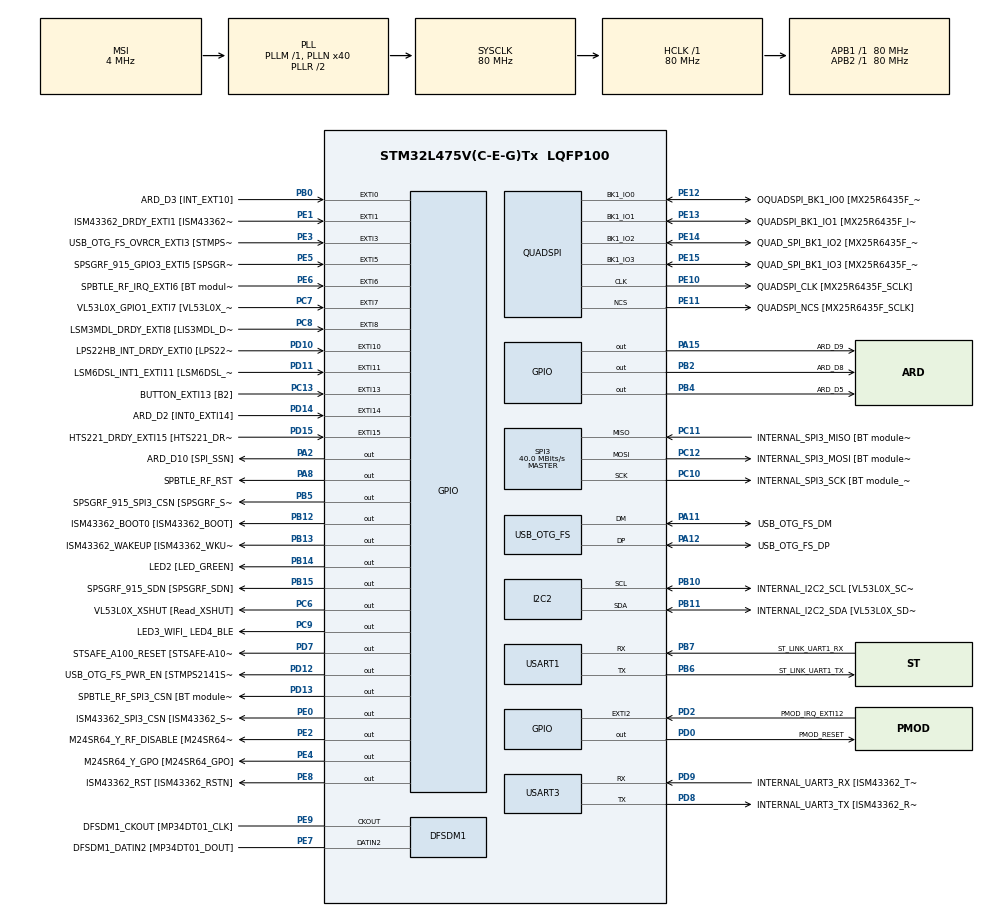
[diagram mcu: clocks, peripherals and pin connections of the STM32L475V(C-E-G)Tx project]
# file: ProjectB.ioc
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Mcu.Family=STM32L4
Mcu.Name=STM32L475V(C-E-G)Tx
Mcu.Package=LQFP100
NVIC.EXTI15_10_IRQn=true\:0\:0\:false\:false\:true\:true\:true\:true
NVIC.EXTI9_5_IRQn=true\:0\:0\:false\:false\:true\:true\:true\:true
NVIC.PriorityGroup=NVIC_PRIORITYGROUP_4
NVIC.USART1_IRQn=true\:0\:0\:false\:false\:true\:true\:true\:true
PA0.GPIO_Label=ARD_D1 [UART4_TX]
PA0.Signal=UART4_TX
PA1.GPIO_Label=ARD_D0 [UART4_RX]
PA1.Signal=UART4_RX
PA10.GPIO_Label=USB_OTG_FS_ID
PA10.Signal=USB_OTG_FS_ID
PA11.GPIO_Label=USB_OTG_FS_DM
PA11.Mode=Device_Only
PA11.Signal=USB_OTG_FS_DM
PA12.GPIO_Label=USB_OTG_FS_DP
PA12.Mode=Device_Only
PA12.Signal=USB_OTG_FS_DP
PA13\ (JTMS-SWDIO).GPIO_Label=SYS_JTMS_SWDIO
PA13\ (JTMS-SWDIO).Mode=Serial_Wire
PA13\ (JTMS-SWDIO).Signal=SYS_JTMS-SWDIO
PA14\ (JTCK-SWCLK).GPIO_Label=SYS_JTCK_SWCLK
PA14\ (JTCK-SWCLK).Mode=Serial_Wire
PA14\ (JTCK-SWCLK).Signal=SYS_JTCK-SWCLK
PA15\ (JTDI).GPIO_Label=ARD_D9
PA15\ (JTDI).Signal=GPIO_Output
PA2.GPIO_Label=ARD_D10 [SPI_SSN]
PA2.Signal=GPIO_Output
PA3.GPIO_Label=ARD_D4
PA3.Signal=S_TIM2_CH4
PA4.GPIO_Label=ARD_D7
PA4.Signal=ADCx_IN9
PA5.GPIO_Label=ARD_D13 [SPI1_SCK]
PA5.Signal=SPI1_SCK
PA6.GPIO_Label=ARD_D12 [SPI1_MISO]
PA6.Signal=SPI1_MISO
PA7.GPIO_Label=ARD_D11 [SPI1_MOSI]
PA7.Signal=SPI1_MOSI
PA8.GPIO_Label=SPBTLE_RF_RST
PA8.Signal=GPIO_Output
PA9.GPIO_Label=USB_OTG_FS_VBUS [STMPS2141STR_OUT]
PA9.Signal=USB_OTG_FS_VBUS
PB0.GPIO_Label=ARD_D3 [INT_EXT10]
PB0.Signal=GPXTI0
PB1.GPIO_Label=ARD_D6 [ADC1_IN6]
PB1.Signal=ADCx_IN16
PB10.GPIO_Label=INTERNAL_I2C2_SCL [VL53L0X_SCL]
PB10.GPIO_Pu=GPIO_PULLUP
PB10.Mode=I2C
PB10.Signal=I2C2_SCL
PB11.GPIO_Label=INTERNAL_I2C2_SDA [VL53L0X_SDA]
PB11.GPIO_Pu=GPIO_PULLUP
PB11.Mode=I2C
PB11.Signal=I2C2_SDA
PB12.GPIO_Label=ISM43362_BOOT0 [ISM43362_BOOT]
PB12.Signal=GPIO_Output
PB13.GPIO_Label=ISM43362_WAKEUP [ISM43362_WKUP]
PB13.Signal=GPIO_Output
PB14.GPIO_Label=LED2 [LED_GREEN]
PB14.Signal=GPIO_Output
PB15.GPIO_Label=SPSGRF_915_SDN [SPSGRF_SDN]
PB15.Signal=GPIO_Output
PB2.GPIO_Label=ARD_D8
PB2.Signal=GPIO_Output
PB3\ (JTDO-TRACESWO).GPIO_Label=SYS_JTD0_SWO
PB3\ (JTDO-TRACESWO).Signal=SYS_JTDO-SWO
PB4\ (NJTRST).GPIO_Label=ARD_D5
PB4\ (NJTRST).Signal=GPIO_Output
PB5.GPIO_Label=SPSGRF_915_SPI3_CSN [SPSGRF_SPI_CS]
PB5.PinState=GPIO_PIN_SET
PB5.Signal=GPIO_Output
PB6.GPIO_Label=ST_LINK_UART1_TX
PB6.Mode=Asynchronous
PB6.Signal=USART1_TX
PB7.GPIO_Label=ST_LINK_UART1_RX
PB7.Mode=Asynchronous
PB7.Signal=USART1_RX
PB8.GPIO_Label=ARD_D15 [I2C1_SCL]
PB8.Signal=I2C1_SCL
PB9.GPIO_Label=ARD_D14 [I2C1_SDA]
PB9.Signal=I2C1_SDA
PC0.GPIO_Label=ARD_A5 [ADC]
PC0.Signal=ADCx_IN1
PC1.GPIO_Label=ARD_A4 [ADC]
PC1.Signal=ADCx_IN2
PC10.GPIO_Label=INTERNAL_SPI3_SCK [BT module_SPI_SCLK] [ISM43362_SCK]
PC10.Mode=Full_Duplex_Master
PC10.Signal=SPI3_SCK
PC11.GPIO_Label=INTERNAL_SPI3_MISO [BT module_SPI_MISO] [ISM43362_MISO]
PC11.Mode=Full_Duplex_Master
PC11.Signal=SPI3_MISO
PC12.GPIO_Label=INTERNAL_SPI3_MOSI [BT module_SPI_MOSI] [ISM43362_MOSI]
PC12.Mode=Full_Duplex_Master
PC12.Signal=SPI3_MOSI
PC13.GPIO_Label=BUTTON_EXTI13 [B2]
PC13.GPIO_ModeDefaultEXTI=GPIO_MODE_IT_FALLING
PC13.Signal=GPXTI13
PC14-OSC32_IN\ (PC14).Mode=LSE-External-Oscillator
PC14-OSC32_IN\ (PC14).Signal=RCC_OSC32_IN
PC15-OSC32_OUT\ (PC15).Mode=LSE-External-Oscillator
PC15-OSC32_OUT\ (PC15).Signal=RCC_OSC32_OUT
PC2.GPIO_Label=ARD_A3 [ADC]
PC2.Signal=ADCx_IN3
PC3.GPIO_Label=ARD_A2 [ADC]
PC3.Signal=ADCx_IN4
PC4.GPIO_Label=ARD_A1 [ADC]
PC4.Signal=ADCx_IN13
PC5.GPIO_Label=ARD_A0 [ADC]
PC5.Signal=ADCx_IN14
PC6.GPIO_Label=VL53L0X_XSHUT [Read_XSHUT]
PC6.Signal=GPIO_Output
PC7.GPIO_Label=VL53L0X_GPIO1_EXTI7 [VL53L0X_GPIO1]
PC7.Signal=GPXTI7
PC8.GPIO_Label=LSM3MDL_DRDY_EXTI8 [LIS3MDL_DRDY]
PC8.Signal=GPXTI8
PC9.GPIO_Label=LED3_WIFI_ LED4_BLE
PC9.Signal=GPIO_Output
PD0.GPIO_Label=PMOD_RESET
PD0.Signal=GPIO_Output
PD1.GPIO_Label=PMOD_SPI2_SCK
PD1.Signal=SPI2_SCK
PD10.GPIO_Label=LPS22HB_INT_DRDY_EXTI0 [LPS22HB_INT_DRDY] 
PD10.Signal=GPXTI10
PD11.GPIO_Label=LSM6DSL_INT1_EXTI11 [LSM6DSL_INT1]
PD11.Signal=GPXTI11
PD12.GPIO_Label=USB_OTG_FS_PWR_EN [STMPS2141STR_EN]
PD12.Signal=GPIO_Output
PD13.GPIO_Label=SPBTLE_RF_SPI3_CSN [BT module_SPI_CS]
PD13.PinState=GPIO_PIN_SET
PD13.Signal=GPIO_Output
PD14.GPIO_Label=ARD_D2 [INT0_EXTI14]
PD14.Signal=GPXTI14
PD15.GPIO_Label=HTS221_DRDY_EXTI15 [HTS221_DRDY]
PD15.Signal=GPXTI15
PD2.GPIO_Label=PMOD_IRQ_EXTI12
PD2.Signal=GPXTI2
PD3.GPIO_Label=PMOD_UART2_CTS
PD3.Signal=USART2_CTS
PD4.GPIO_Label=PMOD_UART2_RTS
PD4.Signal=USART2_RTS
PD5.GPIO_Label=PMOD_UART2_TX
PD5.Signal=USART2_TX
PD6.GPIO_Label=PMOD_UART2_RX
PD6.Signal=USART2_RX
PD7.GPIO_Label=STSAFE_A100_RESET [STSAFE-A100_RESET]
PD7.Signal=GPIO_Output
PD8.GPIO_Label=INTERNAL_UART3_TX [ISM43362_RX]
PD8.Mode=Asynchronous
PD8.Signal=USART3_TX
PD9.GPIO_Label=INTERNAL_UART3_RX [ISM43362_TX]
PD9.Mode=Asynchronous
PD9.Signal=USART3_RX
PE0.GPIO_Label=ISM43362_SPI3_CSN [ISM43362_SSN]
PE0.PinState=GPIO_PIN_SET
PE0.Signal=GPIO_Output
PE1.GPIO_Label=ISM43362_DRDY_EXTI1 [ISM43362_DATARDY]
PE1.Signal=GPXTI1
PE10.GPIO_Label=QUADSPI_CLK [MX25R6435F_SCLK]
PE10.Mode=Single Bank
PE10.Signal=QUADSPI_CLK
PE11.GPIO_Label=QUADSPI_NCS [MX25R6435F_SCLK]
PE11.Mode=Single Bank
PE11.Signal=QUADSPI_NCS
PE12.GPIO_Label=OQUADSPI_BK1_IO0 [MX25R6435F_IO0]
PE12.Mode=Single Bank
PE12.Signal=QUADSPI_BK1_IO0
PE13.GPIO_Label=QUADSPI_BK1_IO1 [MX25R6435F_IO1]
PE13.Mode=Single Bank
PE13.Signal=QUADSPI_BK1_IO1
PE14.GPIO_Label=QUAD_SPI_BK1_IO2 [MX25R6435F_IO2]
PE14.Mode=Single Bank
PE14.Signal=QUADSPI_BK1_IO2
PE15.GPIO_Label=QUAD_SPI_BK1_IO3 [MX25R6435F_IO3]
PE15.Mode=Single Bank
PE15.Signal=QUADSPI_BK1_IO3
PE2.GPIO_Label=M24SR64_Y_RF_DISABLE [M24SR64_RFDIS]
PE2.Signal=GPIO_Output
PE3.GPIO_Label=USB_OTG_FS_OVRCR_EXTI3 [STMPS2141STR_FAULT]
PE3.Signal=GPXTI3
PE4.GPIO_Label=M24SR64_Y_GPO [M24SR64_GPO]
PE4.Signal=GPIO_Output
PE5.GPIO_Label=SPSGRF_915_GPIO3_EXTI5 [SPSGRF_GPIO_3]
PE5.Signal=GPXTI5
PE6.GPIO_Label=SPBTLE_RF_IRQ_EXTI6 [BT module_SPI_IRQ]
PE6.Signal=GPXTI6
PE7.GPIO_Label=DFSDM1_DATIN2 [MP34DT01_DOUT]
PE7.Signal=S_DATAIN2DFSDM1
PE8.GPIO_Label=ISM43362_RST [ISM43362_RSTN]
PE8.Signal=GPIO_Output
PE9.GPIO_Label=DFSDM1_CKOUT [MP34DT01_CLK]
PE9.Signal=S_CKOUTDFSDM1
ProjectManager.HeapSize=0x200
ProjectManager.StackSize=0x400
ProjectManager.TargetToolchain=STM32CubeIDE
QUADSPI.ClockPrescaler=2
QUADSPI.FifoThreshold=4
QUADSPI.FlashSize=23
QUADSPI.SampleShifting=QSPI_SAMPLE_SHIFTING_HALFCYCLE
RCC.ADCFreq_Value=48000000
RCC.AHBFreq_Value=80000000
RCC.APB1Freq_Value=80000000
RCC.APB1TimFreq_Value=80000000
RCC.APB2Freq_Value=80000000
RCC.APB2TimFreq_Value=80000000
RCC.CortexFreq_Value=80000000
RCC.HCLKFreq_Value=80000000
RCC.HSE_VALUE=8000000
RCC.HSI_VALUE=16000000
RCC.MSI_VALUE=4000000
RCC.PLLN=40
RCC.PLLSAI1N=24
RCC.SYSCLKFreq_VALUE=80000000
RCC.SYSCLKSource=RCC_SYSCLKSOURCE_PLLCLK
RCC.USBFreq_Value=48000000
RCC.VCOOutputFreq_Value=160000000
SH.ADCx_IN1.0=ADC1_IN1
SH.ADCx_IN13.0=ADC1_IN13
SH.ADCx_IN14.0=ADC1_IN14
SH.ADCx_IN16.0=ADC1_IN16
SH.ADCx_IN2.0=ADC1_IN2
SH.ADCx_IN3.0=ADC1_IN3
SH.ADCx_IN4.0=ADC1_IN4
SH.ADCx_IN9.0=ADC1_IN9
SH.S_CKOUTDFSDM1.0=DFSDM1_CKOUT,CKOUT
SH.S_CKOUTDFSDM1.1=DFSDM1_CKOUT,PDM_SPI_Input_from_ch12_and_Internal_Clock
SH.S_DATAIN2DFSDM1.0=DFSDM1_DATIN2,PDM_SPI_Input_from_ch12_and_Internal_Clock
SH.S_TIM2_CH4.0=TIM2_CH4
SPI3.CalculateBaudRate=40.0 MBits/s
SPI3.Direction=SPI_DIRECTION_2LINES
SPI3.Mode=SPI_MODE_MASTER
SPI3.VirtualType=VM_MASTER
USART1.VirtualMode-Asynchronous=VM_ASYNC
USART3.VirtualMode-Asynchronous=VM_ASYNC
USB_OTG_FS.VirtualMode=Device_Only
board=B-L475E-IOT01A1

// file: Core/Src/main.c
/* USER CODE BEGIN Header */
/**
  ******************************************************************************
  * @file           : main.c
  * @brief          : Main program body
  ******************************************************************************
  * @attention
  *
  * Copyright (c) 2026 STMicroelectronics.
  * All rights reserved.
  *
  * This software is licensed under terms that can be found in the LICENSE file
  * in the root directory of this software component.
  * If no LICENSE file comes with this software, it is provided AS-IS.
  *
  ******************************************************************************
  */
/* USER CODE END Header */
#include "main.h"
#include <string.h>

/* USER CODE BEGIN PD */
#define LINE_BUF_SIZE 128
/* USER CODE END PD */

DFSDM_Channel_HandleTypeDef hdfsdm1_channel1;

I2C_HandleTypeDef hi2c2;

QSPI_HandleTypeDef hqspi;

SPI_HandleTypeDef hspi3;

UART_HandleTypeDef huart1;
UART_HandleTypeDef huart3;

PCD_HandleTypeDef hpcd_USB_OTG_FS;

/* USER CODE BEGIN PV */
uint8_t rx_byte; // byte buf
uint8_t line_buf[LINE_BUF_SIZE];
uint8_t line_len = 0; // chars in line_buf
uint8_t line_ready = 0; // set to 1 when '\n' received
/* USER CODE END PV */

void SystemClock_Config(void);
static void MX_GPIO_Init(void);
static void MX_DFSDM1_Init(void);
static void MX_I2C2_Init(void);
static void MX_QUADSPI_Init(void);
static void MX_SPI3_Init(void);
static void MX_USART1_UART_Init(void);
static void MX_USART3_UART_Init(void);
static void MX_USB_OTG_FS_PCD_Init(void);
/* USER CODE BEGIN PFP */
static void process_line(uint8_t *buf, uint8_t len);
/* USER CODE END PFP */

/* USER CODE BEGIN 0 */
void HAL_UART_RxCpltCallback(UART_HandleTypeDef *huart)
{
    if (huart->Instance != USART1)
        return; // ignore other UARTs

    uint8_t ch = rx_byte;

    if (ch == '\r' || ch == '\n') // return
    {
        if (line_len == 0)
        {
        	goto rearm;
        }

        if (line_len < LINE_BUF_SIZE)
        {
        	line_buf[line_len] = '\0';
        }
        line_ready = 1;
    }
    else if (ch == '\b' || ch == 0x7F) // backspace or delete
    {
        if (line_len > 0)
        {
            line_len--;
            HAL_UART_Transmit(&huart1, (uint8_t *)"\b \b", 3, HAL_MAX_DELAY);
        }
    }
    else
    {
        if (line_len < LINE_BUF_SIZE - 1)
        {
            line_buf[line_len++] = ch;
            HAL_UART_Transmit(&huart1, &ch, 1, HAL_MAX_DELAY); // echo
        }
    }

    rearm:
    HAL_UART_Receive_IT(&huart1, (uint8_t *)&rx_byte, 1); // rearm for next byte
}

void HAL_UART_ErrorCallback(UART_HandleTypeDef *huart)
{
    if (huart->Instance == USART1)
        HAL_UART_Receive_IT(&huart1, (uint8_t *)&rx_byte, 1);
}

static void process_line(uint8_t *buf, uint8_t len) // handle completed line
{
    HAL_UART_Transmit(&huart1, (uint8_t *)"\r\n", 2, HAL_MAX_DELAY);

    (void)buf;
    (void)len;
}

/* USER CODE END 0 */

int main(void)
{

  /* MCU Configuration--------------------------------------------------------*/

  /* Reset of all peripherals, Initializes the Flash interface and the Systick. */
  HAL_Init();

  /* Configure the system clock */
  SystemClock_Config();

  /* Initialize all configured peripherals */
  MX_GPIO_Init();
  MX_DFSDM1_Init();
  MX_I2C2_Init();
  MX_QUADSPI_Init();
  MX_SPI3_Init();
  MX_USART1_UART_Init();
  MX_USART3_UART_Init();
  MX_USB_OTG_FS_PCD_Init();

  /* USER CODE BEGIN 2 */

  HAL_UART_Receive_IT(&huart1, (uint8_t *)&rx_byte, 1); // arm for first byte

  /* USER CODE END 2 */

  while (1)
  {

    /* USER CODE BEGIN 3 */
    if (line_ready)
    {
        uint8_t len = line_len;

        process_line(line_buf, len);

        line_len   = 0;
        line_ready = 0;
    }

  }
  /* USER CODE END 3 */
}

void SystemClock_Config(void)
{
  RCC_OscInitTypeDef RCC_OscInitStruct = {0};
  RCC_ClkInitTypeDef RCC_ClkInitStruct = {0};

  /** Configure the main internal regulator output voltage
  */
  if (HAL_PWREx_ControlVoltageScaling(PWR_REGULATOR_VOLTAGE_SCALE1) != HAL_OK)
  {
    Error_Handler();
  }

  /** Configure LSE Drive Capability
  */
  HAL_PWR_EnableBkUpAccess();
  __HAL_RCC_LSEDRIVE_CONFIG(RCC_LSEDRIVE_LOW);

  /** Initializes the RCC Oscillators according to the specified parameters
  * in the RCC_OscInitTypeDef structure.
  */
  RCC_OscInitStruct.OscillatorType = RCC_OSCILLATORTYPE_LSE|RCC_OSCILLATORTYPE_MSI;
  RCC_OscInitStruct.LSEState = RCC_LSE_ON;
  RCC_OscInitStruct.MSIState = RCC_MSI_ON;
  RCC_OscInitStruct.MSICalibrationValue = 0;
  RCC_OscInitStruct.MSIClockRange = RCC_MSIRANGE_6;
  RCC_OscInitStruct.PLL.PLLState = RCC_PLL_ON;
  RCC_OscInitStruct.PLL.PLLSource = RCC_PLLSOURCE_MSI;
  RCC_OscInitStruct.PLL.PLLM = 1;
  RCC_OscInitStruct.PLL.PLLN = 40;
  RCC_OscInitStruct.PLL.PLLP = RCC_PLLP_DIV7;
  RCC_OscInitStruct.PLL.PLLQ = RCC_PLLQ_DIV2;
  RCC_OscInitStruct.PLL.PLLR = RCC_PLLR_DIV2;
  if (HAL_RCC_OscConfig(&RCC_OscInitStruct) != HAL_OK)
  {
    Error_Handler();
  }

  /** Initializes the CPU, AHB and APB buses clocks
  */
  RCC_ClkInitStruct.ClockType = RCC_CLOCKTYPE_HCLK|RCC_CLOCKTYPE_SYSCLK
                              |RCC_CLOCKTYPE_PCLK1|RCC_CLOCKTYPE_PCLK2;
  RCC_ClkInitStruct.SYSCLKSource = RCC_SYSCLKSOURCE_PLLCLK;
  RCC_ClkInitStruct.AHBCLKDivider = RCC_SYSCLK_DIV1;
  RCC_ClkInitStruct.APB1CLKDivider = RCC_HCLK_DIV1;
  RCC_ClkInitStruct.APB2CLKDivider = RCC_HCLK_DIV1;

  if (HAL_RCC_ClockConfig(&RCC_ClkInitStruct, FLASH_LATENCY_4) != HAL_OK)
  {
    Error_Handler();
  }

  /** Enable MSI Auto calibration
  */
  HAL_RCCEx_EnableMSIPLLMode();
}

static void MX_DFSDM1_Init(void)
{

  hdfsdm1_channel1.Instance = DFSDM1_Channel1;
  hdfsdm1_channel1.Init.OutputClock.Activation = ENABLE;
  hdfsdm1_channel1.Init.OutputClock.Selection = DFSDM_CHANNEL_OUTPUT_CLOCK_SYSTEM;
  hdfsdm1_channel1.Init.OutputClock.Divider = 2;
  hdfsdm1_channel1.Init.Input.Multiplexer = DFSDM_CHANNEL_EXTERNAL_INPUTS;
  hdfsdm1_channel1.Init.Input.DataPacking = DFSDM_CHANNEL_STANDARD_MODE;
  hdfsdm1_channel1.Init.Input.Pins = DFSDM_CHANNEL_FOLLOWING_CHANNEL_PINS;
  hdfsdm1_channel1.Init.SerialInterface.Type = DFSDM_CHANNEL_SPI_RISING;
  hdfsdm1_channel1.Init.SerialInterface.SpiClock = DFSDM_CHANNEL_SPI_CLOCK_INTERNAL;
  hdfsdm1_channel1.Init.Awd.FilterOrder = DFSDM_CHANNEL_FASTSINC_ORDER;
  hdfsdm1_channel1.Init.Awd.Oversampling = 1;
  hdfsdm1_channel1.Init.Offset = 0;
  hdfsdm1_channel1.Init.RightBitShift = 0x00;
  if (HAL_DFSDM_ChannelInit(&hdfsdm1_channel1) != HAL_OK)
  {
    Error_Handler();
  }

}

static void MX_I2C2_Init(void)
{

  hi2c2.Instance = I2C2;
  hi2c2.Init.Timing = 0x00000E14;
  hi2c2.Init.OwnAddress1 = 0;
  hi2c2.Init.AddressingMode = I2C_ADDRESSINGMODE_7BIT;
  hi2c2.Init.DualAddressMode = I2C_DUALADDRESS_DISABLE;
  hi2c2.Init.OwnAddress2 = 0;
  hi2c2.Init.OwnAddress2Masks = I2C_OA2_NOMASK;
  hi2c2.Init.GeneralCallMode = I2C_GENERALCALL_DISABLE;
  hi2c2.Init.NoStretchMode = I2C_NOSTRETCH_DISABLE;
  if (HAL_I2C_Init(&hi2c2) != HAL_OK)
  {
    Error_Handler();
  }

  /** Configure Analogue filter
  */
  if (HAL_I2CEx_ConfigAnalogFilter(&hi2c2, I2C_ANALOGFILTER_ENABLE) != HAL_OK)
  {
    Error_Handler();
  }

  /** Configure Digital filter
  */
  if (HAL_I2CEx_ConfigDigitalFilter(&hi2c2, 0) != HAL_OK)
  {
    Error_Handler();
  }

}

static void MX_QUADSPI_Init(void)
{

  /* QUADSPI parameter configuration*/
  hqspi.Instance = QUADSPI;
  hqspi.Init.ClockPrescaler = 2;
  hqspi.Init.FifoThreshold = 4;
  hqspi.Init.SampleShifting = QSPI_SAMPLE_SHIFTING_HALFCYCLE;
  hqspi.Init.FlashSize = 23;
  hqspi.Init.ChipSelectHighTime = QSPI_CS_HIGH_TIME_1_CYCLE;
  hqspi.Init.ClockMode = QSPI_CLOCK_MODE_0;
  if (HAL_QSPI_Init(&hqspi) != HAL_OK)
  {
    Error_Handler();
  }

}

static void MX_SPI3_Init(void)
{

  /* SPI3 parameter configuration*/
  hspi3.Instance = SPI3;
  hspi3.Init.Mode = SPI_MODE_MASTER;
  hspi3.Init.Direction = SPI_DIRECTION_2LINES;
  hspi3.Init.DataSize = SPI_DATASIZE_4BIT;
  hspi3.Init.CLKPolarity = SPI_POLARITY_LOW;
  hspi3.Init.CLKPhase = SPI_PHASE_1EDGE;
  hspi3.Init.NSS = SPI_NSS_SOFT;
  hspi3.Init.BaudRatePrescaler = SPI_BAUDRATEPRESCALER_2;
  hspi3.Init.FirstBit = SPI_FIRSTBIT_MSB;
  hspi3.Init.TIMode = SPI_TIMODE_DISABLE;
  hspi3.Init.CRCCalculation = SPI_CRCCALCULATION_DISABLE;
  hspi3.Init.CRCPolynomial = 7;
  hspi3.Init.CRCLength = SPI_CRC_LENGTH_DATASIZE;
  hspi3.Init.NSSPMode = SPI_NSS_PULSE_ENABLE;
  if (HAL_SPI_Init(&hspi3) != HAL_OK)
  {
    Error_Handler();
  }

}

static void MX_USART1_UART_Init(void)
{

  huart1.Instance = USART1;
  huart1.Init.BaudRate = 115200;
  huart1.Init.WordLength = UART_WORDLENGTH_8B;
  huart1.Init.StopBits = UART_STOPBITS_1;
  huart1.Init.Parity = UART_PARITY_NONE;
  huart1.Init.Mode = UART_MODE_TX_RX;
  huart1.Init.HwFlowCtl = UART_HWCONTROL_NONE;
  huart1.Init.OverSampling = UART_OVERSAMPLING_16;
  huart1.Init.OneBitSampling = UART_ONE_BIT_SAMPLE_DISABLE;
  huart1.AdvancedInit.AdvFeatureInit = UART_ADVFEATURE_NO_INIT;
  if (HAL_UART_Init(&huart1) != HAL_OK)
  {
    Error_Handler();
  }

}

static void MX_USART3_UART_Init(void)
{

  huart3.Instance = USART3;
  huart3.Init.BaudRate = 115200;
  huart3.Init.WordLength = UART_WORDLENGTH_8B;
  huart3.Init.StopBits = UART_STOPBITS_1;
  huart3.Init.Parity = UART_PARITY_NONE;
  huart3.Init.Mode = UART_MODE_TX_RX;
  huart3.Init.HwFlowCtl = UART_HWCONTROL_NONE;
  huart3.Init.OverSampling = UART_OVERSAMPLING_16;
  huart3.Init.OneBitSampling = UART_ONE_BIT_SAMPLE_DISABLE;
  huart3.AdvancedInit.AdvFeatureInit = UART_ADVFEATURE_NO_INIT;
  if (HAL_UART_Init(&huart3) != HAL_OK)
  {
    Error_Handler();
  }

}

static void MX_USB_OTG_FS_PCD_Init(void)
{

  hpcd_USB_OTG_FS.Instance = USB_OTG_FS;
  hpcd_USB_OTG_FS.Init.dev_endpoints = 6;
  hpcd_USB_OTG_FS.Init.speed = PCD_SPEED_FULL;
  hpcd_USB_OTG_FS.Init.phy_itface = PCD_PHY_EMBEDDED;
  hpcd_USB_OTG_FS.Init.Sof_enable = DISABLE;
  hpcd_USB_OTG_FS.Init.low_power_enable = DISABLE;
  hpcd_USB_OTG_FS.Init.lpm_enable = DISABLE;
  hpcd_USB_OTG_FS.Init.battery_charging_enable = DISABLE;
  hpcd_USB_OTG_FS.Init.use_dedicated_ep1 = DISABLE;
  hpcd_USB_OTG_FS.Init.vbus_sensing_enable = DISABLE;
  if (HAL_PCD_Init(&hpcd_USB_OTG_FS) != HAL_OK)
  {
    Error_Handler();
  }

}

static void MX_GPIO_Init(void)
{
  GPIO_InitTypeDef GPIO_InitStruct = {0};

  /* GPIO Ports Clock Enable */
  __HAL_RCC_GPIOE_CLK_ENABLE();
  __HAL_RCC_GPIOC_CLK_ENABLE();
  __HAL_RCC_GPIOA_CLK_ENABLE();
  __HAL_RCC_GPIOB_CLK_ENABLE();
  __HAL_RCC_GPIOD_CLK_ENABLE();

  /*Configure GPIO pin Output Level */
  HAL_GPIO_WritePin(GPIOE, M24SR64_Y_RF_DISABLE_Pin|M24SR64_Y_GPO_Pin|ISM43362_RST_Pin, GPIO_PIN_RESET);

  /*Configure GPIO pin Output Level */
  HAL_GPIO_WritePin(GPIOA, ARD_D10_Pin|SPBTLE_RF_RST_Pin|ARD_D9_Pin, GPIO_PIN_RESET);

  /*Configure GPIO pin Output Level */
  HAL_GPIO_WritePin(GPIOB, ARD_D8_Pin|ISM43362_BOOT0_Pin|ISM43362_WAKEUP_Pin|LED2_Pin
                          |SPSGRF_915_SDN_Pin|ARD_D5_Pin, GPIO_PIN_RESET);

  /*Configure GPIO pin Output Level */
  HAL_GPIO_WritePin(GPIOD, USB_OTG_FS_PWR_EN_Pin|PMOD_RESET_Pin|STSAFE_A100_RESET_Pin, GPIO_PIN_RESET);

  /*Configure GPIO pin Output Level */
  HAL_GPIO_WritePin(SPBTLE_RF_SPI3_CSN_GPIO_Port, SPBTLE_RF_SPI3_CSN_Pin, GPIO_PIN_SET);

  /*Configure GPIO pin Output Level */
  HAL_GPIO_WritePin(GPIOC, VL53L0X_XSHUT_Pin|LED3_WIFI__LED4_BLE_Pin, GPIO_PIN_RESET);

  /*Configure GPIO pin Output Level */
  HAL_GPIO_WritePin(SPSGRF_915_SPI3_CSN_GPIO_Port, SPSGRF_915_SPI3_CSN_Pin, GPIO_PIN_SET);

  /*Configure GPIO pin Output Level */
  HAL_GPIO_WritePin(ISM43362_SPI3_CSN_GPIO_Port, ISM43362_SPI3_CSN_Pin, GPIO_PIN_SET);

  /*Configure GPIO pins : M24SR64_Y_RF_DISABLE_Pin M24SR64_Y_GPO_Pin ISM43362_RST_Pin ISM43362_SPI3_CSN_Pin */
  GPIO_InitStruct.Pin = M24SR64_Y_RF_DISABLE_Pin|M24SR64_Y_GPO_Pin|ISM43362_RST_Pin|ISM43362_SPI3_CSN_Pin;
  GPIO_InitStruct.Mode = GPIO_MODE_OUTPUT_PP;
  GPIO_InitStruct.Pull = GPIO_NOPULL;
  GPIO_InitStruct.Speed = GPIO_SPEED_FREQ_LOW;
  HAL_GPIO_Init(GPIOE, &GPIO_InitStruct);

  /*Configure GPIO pins : USB_OTG_FS_OVRCR_EXTI3_Pin SPSGRF_915_GPIO3_EXTI5_Pin SPBTLE_RF_IRQ_EXTI6_Pin ISM43362_DRDY_EXTI1_Pin */
  GPIO_InitStruct.Pin = USB_OTG_FS_OVRCR_EXTI3_Pin|SPSGRF_915_GPIO3_EXTI5_Pin|SPBTLE_RF_IRQ_EXTI6_Pin|ISM43362_DRDY_EXTI1_Pin;
  GPIO_InitStruct.Mode = GPIO_MODE_IT_RISING;
  GPIO_InitStruct.Pull = GPIO_NOPULL;
  HAL_GPIO_Init(GPIOE, &GPIO_InitStruct);

  /*Configure GPIO pin : BUTTON_EXTI13_Pin */
  GPIO_InitStruct.Pin = BUTTON_EXTI13_Pin;
  GPIO_InitStruct.Mode = GPIO_MODE_IT_FALLING;
  GPIO_InitStruct.Pull = GPIO_NOPULL;
  HAL_GPIO_Init(BUTTON_EXTI13_GPIO_Port, &GPIO_InitStruct);

  /*Configure GPIO pins : ARD_A5_Pin ARD_A4_Pin ARD_A3_Pin ARD_A2_Pin
                           ARD_A1_Pin ARD_A0_Pin */
  GPIO_InitStruct.Pin = ARD_A5_Pin|ARD_A4_Pin|ARD_A3_Pin|ARD_A2_Pin
                          |ARD_A1_Pin|ARD_A0_Pin;
  GPIO_InitStruct.Mode = GPIO_MODE_ANALOG_ADC_CONTROL;
  GPIO_InitStruct.Pull = GPIO_NOPULL;
  HAL_GPIO_Init(GPIOC, &GPIO_InitStruct);

  /*Configure GPIO pins : ARD_D1_Pin ARD_D0_Pin */
  GPIO_InitStruct.Pin = ARD_D1_Pin|ARD_D0_Pin;
  GPIO_InitStruct.Mode = GPIO_MODE_AF_PP;
  GPIO_InitStruct.Pull = GPIO_NOPULL;
  GPIO_InitStruct.Speed = GPIO_SPEED_FREQ_VERY_HIGH;
  GPIO_InitStruct.Alternate = GPIO_AF8_UART4;
  HAL_GPIO_Init(GPIOA, &GPIO_InitStruct);

  /*Configure GPIO pins : ARD_D10_Pin SPBTLE_RF_RST_Pin ARD_D9_Pin */
  GPIO_InitStruct.Pin = ARD_D10_Pin|SPBTLE_RF_RST_Pin|ARD_D9_Pin;
  GPIO_InitStruct.Mode = GPIO_MODE_OUTPUT_PP;
  GPIO_InitStruct.Pull = GPIO_NOPULL;
  GPIO_InitStruct.Speed = GPIO_SPEED_FREQ_LOW;
  HAL_GPIO_Init(GPIOA, &GPIO_InitStruct);

  /*Configure GPIO pin : ARD_D4_Pin */
  GPIO_InitStruct.Pin = ARD_D4_Pin;
  GPIO_InitStruct.Mode = GPIO_MODE_AF_PP;
  GPIO_InitStruct.Pull = GPIO_NOPULL;
  GPIO_InitStruct.Speed = GPIO_SPEED_FREQ_LOW;
  GPIO_InitStruct.Alternate = GPIO_AF1_TIM2;
  HAL_GPIO_Init(ARD_D4_GPIO_Port, &GPIO_InitStruct);

  /*Configure GPIO pin : ARD_D7_Pin */
  GPIO_InitStruct.Pin = ARD_D7_Pin;
  GPIO_InitStruct.Mode = GPIO_MODE_ANALOG_ADC_CONTROL;
  GPIO_InitStruct.Pull = GPIO_NOPULL;
  HAL_GPIO_Init(ARD_D7_GPIO_Port, &GPIO_InitStruct);

  /*Configure GPIO pins : ARD_D13_Pin ARD_D12_Pin ARD_D11_Pin */
  GPIO_InitStruct.Pin = ARD_D13_Pin|ARD_D12_Pin|ARD_D11_Pin;
  GPIO_InitStruct.Mode = GPIO_MODE_AF_PP;
  GPIO_InitStruct.Pull = GPIO_NOPULL;
  GPIO_InitStruct.Speed = GPIO_SPEED_FREQ_VERY_HIGH;
  GPIO_InitStruct.Alternate = GPIO_AF5_SPI1;
  HAL_GPIO_Init(GPIOA, &GPIO_InitStruct);

  /*Configure GPIO pin : ARD_D3_Pin */
  GPIO_InitStruct.Pin = ARD_D3_Pin;
  GPIO_InitStruct.Mode = GPIO_MODE_IT_RISING;
  GPIO_InitStruct.Pull = GPIO_NOPULL;
  HAL_GPIO_Init(ARD_D3_GPIO_Port, &GPIO_InitStruct);

  /*Configure GPIO pin : ARD_D6_Pin */
  GPIO_InitStruct.Pin = ARD_D6_Pin;
  GPIO_InitStruct.Mode = GPIO_MODE_ANALOG_ADC_CONTROL;
  GPIO_InitStruct.Pull = GPIO_NOPULL;
  HAL_GPIO_Init(ARD_D6_GPIO_Port, &GPIO_InitStruct);

  /*Configure GPIO pins : ARD_D8_Pin ISM43362_BOOT0_Pin ISM43362_WAKEUP_Pin LED2_Pin
                           SPSGRF_915_SDN_Pin ARD_D5_Pin SPSGRF_915_SPI3_CSN_Pin */
  GPIO_InitStruct.Pin = ARD_D8_Pin|ISM43362_BOOT0_Pin|ISM43362_WAKEUP_Pin|LED2_Pin
                          |SPSGRF_915_SDN_Pin|ARD_D5_Pin|SPSGRF_915_SPI3_CSN_Pin;
  GPIO_InitStruct.Mode = GPIO_MODE_OUTPUT_PP;
  GPIO_InitStruct.Pull = GPIO_NOPULL;
  GPIO_InitStruct.Speed = GPIO_SPEED_FREQ_LOW;
  HAL_GPIO_Init(GPIOB, &GPIO_InitStruct);

  /*Configure GPIO pins : LPS22HB_INT_DRDY_EXTI0_Pin LSM6DSL_INT1_EXTI11_Pin ARD_D2_Pin HTS221_DRDY_EXTI15_Pin
                           PMOD_IRQ_EXTI12_Pin */
  GPIO_InitStruct.Pin = LPS22HB_INT_DRDY_EXTI0_Pin|LSM6DSL_INT1_EXTI11_Pin|ARD_D2_Pin|HTS221_DRDY_EXTI15_Pin
                          |PMOD_IRQ_EXTI12_Pin;
  GPIO_InitStruct.Mode = GPIO_MODE_IT_RISING;
  GPIO_InitStruct.Pull = GPIO_NOPULL;
  HAL_GPIO_Init(GPIOD, &GPIO_InitStruct);

  /*Configure GPIO pins : USB_OTG_FS_PWR_EN_Pin SPBTLE_RF_SPI3_CSN_Pin PMOD_RESET_Pin STSAFE_A100_RESET_Pin */
  GPIO_InitStruct.Pin = USB_OTG_FS_PWR_EN_Pin|SPBTLE_RF_SPI3_CSN_Pin|PMOD_RESET_Pin|STSAFE_A100_RESET_Pin;
  GPIO_InitStruct.Mode = GPIO_MODE_OUTPUT_PP;
  GPIO_InitStruct.Pull = GPIO_NOPULL;
  GPIO_InitStruct.Speed = GPIO_SPEED_FREQ_LOW;
  HAL_GPIO_Init(GPIOD, &GPIO_InitStruct);

  /*Configure GPIO pins : VL53L0X_XSHUT_Pin LED3_WIFI__LED4_BLE_Pin */
  GPIO_InitStruct.Pin = VL53L0X_XSHUT_Pin|LED3_WIFI__LED4_BLE_Pin;
  GPIO_InitStruct.Mode = GPIO_MODE_OUTPUT_PP;
  GPIO_InitStruct.Pull = GPIO_NOPULL;
  GPIO_InitStruct.Speed = GPIO_SPEED_FREQ_LOW;
  HAL_GPIO_Init(GPIOC, &GPIO_InitStruct);

  /*Configure GPIO pins : VL53L0X_GPIO1_EXTI7_Pin LSM3MDL_DRDY_EXTI8_Pin */
  GPIO_InitStruct.Pin = VL53L0X_GPIO1_EXTI7_Pin|LSM3MDL_DRDY_EXTI8_Pin;
  GPIO_InitStruct.Mode = GPIO_MODE_IT_RISING;
  GPIO_InitStruct.Pull = GPIO_NOPULL;
  HAL_GPIO_Init(GPIOC, &GPIO_InitStruct);

  /*Configure GPIO pin : PMOD_SPI2_SCK_Pin */
  GPIO_InitStruct.Pin = PMOD_SPI2_SCK_Pin;
  GPIO_InitStruct.Mode = GPIO_MODE_AF_PP;
  GPIO_InitStruct.Pull = GPIO_NOPULL;
  GPIO_InitStruct.Speed = GPIO_SPEED_FREQ_VERY_HIGH;
  GPIO_InitStruct.Alternate = GPIO_AF5_SPI2;
  HAL_GPIO_Init(PMOD_SPI2_SCK_GPIO_Port, &GPIO_InitStruct);

  /*Configure GPIO pins : PMOD_UART2_CTS_Pin PMOD_UART2_RTS_Pin PMOD_UART2_TX_Pin PMOD_UART2_RX_Pin */
  GPIO_InitStruct.Pin = PMOD_UART2_CTS_Pin|PMOD_UART2_RTS_Pin|PMOD_UART2_TX_Pin|PMOD_UART2_RX_Pin;
  GPIO_InitStruct.Mode = GPIO_MODE_AF_PP;
  GPIO_InitStruct.Pull = GPIO_NOPULL;
  GPIO_InitStruct.Speed = GPIO_SPEED_FREQ_VERY_HIGH;
  GPIO_InitStruct.Alternate = GPIO_AF7_USART2;
  HAL_GPIO_Init(GPIOD, &GPIO_InitStruct);

  /*Configure GPIO pins : ARD_D15_Pin ARD_D14_Pin */
  GPIO_InitStruct.Pin = ARD_D15_Pin|ARD_D14_Pin;
  GPIO_InitStruct.Mode = GPIO_MODE_AF_OD;
  GPIO_InitStruct.Pull = GPIO_NOPULL;
  GPIO_InitStruct.Speed = GPIO_SPEED_FREQ_VERY_HIGH;
  GPIO_InitStruct.Alternate = GPIO_AF4_I2C1;
  HAL_GPIO_Init(GPIOB, &GPIO_InitStruct);

  /* EXTI interrupt init*/
  HAL_NVIC_SetPriority(EXTI9_5_IRQn, 0, 0);
  HAL_NVIC_EnableIRQ(EXTI9_5_IRQn);

  HAL_NVIC_SetPriority(EXTI15_10_IRQn, 0, 0);
  HAL_NVIC_EnableIRQ(EXTI15_10_IRQn);

}

void Error_Handler(void)
{
  __disable_irq();
  while (1)
  {
  }
}
